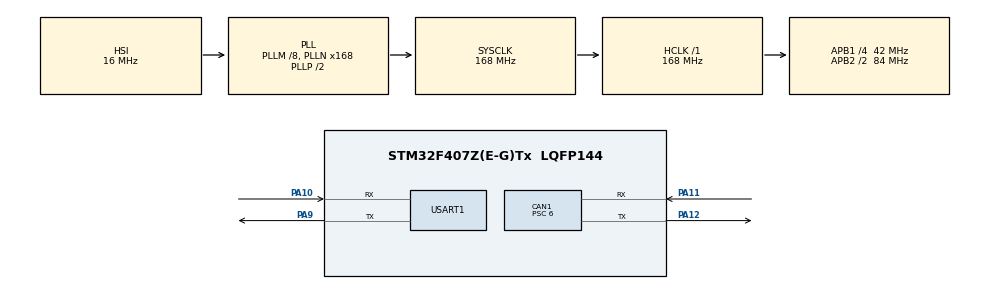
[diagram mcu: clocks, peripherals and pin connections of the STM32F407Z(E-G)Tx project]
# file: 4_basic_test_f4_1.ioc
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CAN1.BS1=CAN_BS1_11TQ
CAN1.BS2=CAN_BS2_2TQ
CAN1.CalculateBaudRate=500000
CAN1.CalculateTimeBit=1999.99
CAN1.CalculateTimeQuantum=142.85714285714286
CAN1.Prescaler=6
CAN1.SJW=CAN_SJW_1TQ
Mcu.Family=STM32F4
Mcu.Name=STM32F407Z(E-G)Tx
Mcu.Package=LQFP144
NVIC.CAN1_RX0_IRQn=true\:0\:0\:false\:false\:true\:true\:true
NVIC.PriorityGroup=NVIC_PRIORITYGROUP_4
NVIC.TIM3_IRQn=true\:0\:0\:false\:false\:true\:true\:true
NVIC.USART1_IRQn=true\:0\:0\:false\:false\:true\:true\:true
PA10.Mode=Asynchronous
PA10.Signal=USART1_RX
PA11.Mode=CAN_Activate
PA11.Signal=CAN1_RX
PA12.Mode=CAN_Activate
PA12.Signal=CAN1_TX
PA13.Mode=Serial_Wire
PA13.Signal=SYS_JTMS-SWDIO
PA14.Mode=Serial_Wire
PA14.Signal=SYS_JTCK-SWCLK
PA9.Mode=Asynchronous
PA9.Signal=USART1_TX
PH0-OSC_IN.Mode=HSE-External-Oscillator
PH0-OSC_IN.Signal=RCC_OSC_IN
PH1-OSC_OUT.Mode=HSE-External-Oscillator
PH1-OSC_OUT.Signal=RCC_OSC_OUT
ProjectManager.HeapSize=0x200
ProjectManager.StackSize=0x400
ProjectManager.TargetToolchain=MDK-ARM V5.27
RCC.48MHZClocksFreq_Value=84000000
RCC.AHBFreq_Value=168000000
RCC.APB1CLKDivider=RCC_HCLK_DIV4
RCC.APB1Freq_Value=42000000
RCC.APB1TimFreq_Value=84000000
RCC.APB2CLKDivider=RCC_HCLK_DIV2
RCC.APB2Freq_Value=84000000
RCC.APB2TimFreq_Value=168000000
RCC.CortexFreq_Value=168000000
RCC.HCLKFreq_Value=168000000
RCC.HSE_VALUE=8000000
RCC.HSI_VALUE=16000000
RCC.LSE_VALUE=32768
RCC.PLLM=8
RCC.PLLN=168
RCC.SYSCLKFreq_VALUE=168000000
RCC.SYSCLKSource=RCC_SYSCLKSOURCE_PLLCLK
RCC.VCOOutputFreq_Value=336000000
TIM3.AutoReloadPreload=TIM_AUTORELOAD_PRELOAD_ENABLE
TIM3.Prescaler=83
USART1.VirtualMode=VM_ASYNC
VP_TIM3_VS_ClockSourceINT.Mode=Internal
board=custom

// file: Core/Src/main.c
/* USER CODE BEGIN Header */
/**
  ******************************************************************************
  * @file           : main.c
  * @brief          : Main program body
  ******************************************************************************
  * @attention
  *
  * <h2><center>&copy; Copyright (c) 2025 STMicroelectronics.
  * All rights reserved.</center></h2>
  *
  * This software component is licensed by ST under BSD 3-Clause license,
  * the "License"; You may not use this file except in compliance with the
  * License. You may obtain a copy of the License at:
  *                        opensource.org/licenses/BSD-3-Clause
  *
  ******************************************************************************
  */
/* USER CODE END Header */
#include "main.h"
#include "bsp_can.h"
#include "tim.h"
#include "usart.h"
#include "gpio.h"

/* USER CODE BEGIN Includes */
#include <applicfg.h>
#include <stdlib.h>
#include "canfestival.h"
// #include "config.h" // dardware下
// #include "TestAll.h"
#include "TestAllSlave.h"
#include "data.h"
#include <stdio.h>
/* USER CODE END Includes */

void SystemClock_Config(void);

int main(void)
{

  /* MCU Configuration--------------------------------------------------------*/

  /* Reset of all peripherals, Initializes the Flash interface and the Systick. */
  HAL_Init();

  /* Configure the system clock */
  SystemClock_Config();

  /* Initialize all configured peripherals */
  MX_GPIO_Init();
  MX_CAN1_Init();
  MX_TIM3_Init();
  MX_USART1_UART_Init();
  /* USER CODE BEGIN 2 */
	printf("hello world\n");
  Configure_Filter();
  HAL_CAN_Start(&hcan1);
  HAL_CAN_ActivateNotification(&hcan1,CAN_IT_RX_FIFO0_MSG_PENDING);
	HAL_TIM_Base_Start_IT(&htim3);

	unsigned char nodeID = 0x02;                   //节点ID
 setNodeId(&TestAllSlave_Data, nodeID);
 setState(&TestAllSlave_Data, Initialisation);				//节点初始化
 setState(&TestAllSlave_Data, Pre_operational);
 setState(&TestAllSlave_Data, Operational);

  /* USER CODE END 2 */

  /* Infinite loop */
  while (1)
  {

//    CAN_TxHeaderTypeDef Can_Tx;
//    uint8_t txdata[8] = {0x035,0x11,0x03,0x42,0x77,0x0a,0x07,0x08};
//    uint32_t pTxMailbox = 0;
//    Can_Tx.StdId = 0x123;
//    Can_Tx.ExtId = 0x123;
//    Can_Tx.IDE = 0;
//    Can_Tx.RTR = 0;
//    Can_Tx.DLC = 8;
//
//    HAL_CAN_AddTxMessage(&hcan1,&Can_Tx,txdata,&pTxMailbox);//����can��Ϣ
    printf("slave test\n");
    printf("sdo_data: %d\n", sdo_data);
		// data[0]++;
    // 添加调试信息
    printf("Node state: %d\n", TestAllSlave_Data.nodeState);
    printf("PDO state: %d\n", TestAllSlave_Data.CurrentCommunicationState.csPDO);
    // 打印更多调试信息
    printf("PDO transmission type: %d\n",
            TestAllSlave_Data.CurrentCommunicationState.csPDO);
    printf("PDO event timer: %d\n",
            TestAllSlave_Data.CurrentCommunicationState.csPDO);
    printf("PDO inhibit time: %d\n",
            TestAllSlave_Data.CurrentCommunicationState.csPDO);

    HAL_Delay(1000);

  }
}

void SystemClock_Config(void)
{
  RCC_OscInitTypeDef RCC_OscInitStruct = {0};
  RCC_ClkInitTypeDef RCC_ClkInitStruct = {0};

  /** Configure the main internal regulator output voltage
  */
  __HAL_RCC_PWR_CLK_ENABLE();
  __HAL_PWR_VOLTAGESCALING_CONFIG(PWR_REGULATOR_VOLTAGE_SCALE1);
  /** Initializes the RCC Oscillators according to the specified parameters
  * in the RCC_OscInitTypeDef structure.
  */
  RCC_OscInitStruct.OscillatorType = RCC_OSCILLATORTYPE_HSI;
  RCC_OscInitStruct.HSIState = RCC_HSI_ON;
  RCC_OscInitStruct.HSICalibrationValue = RCC_HSICALIBRATION_DEFAULT;
  RCC_OscInitStruct.PLL.PLLState = RCC_PLL_ON;
  RCC_OscInitStruct.PLL.PLLSource = RCC_PLLSOURCE_HSI;
  RCC_OscInitStruct.PLL.PLLM = 8;
  RCC_OscInitStruct.PLL.PLLN = 168;
  RCC_OscInitStruct.PLL.PLLP = RCC_PLLP_DIV2;
  RCC_OscInitStruct.PLL.PLLQ = 4;
  if (HAL_RCC_OscConfig(&RCC_OscInitStruct) != HAL_OK)
  {
    Error_Handler();
  }
  /** Initializes the CPU, AHB and APB buses clocks
  */
  RCC_ClkInitStruct.ClockType = RCC_CLOCKTYPE_HCLK|RCC_CLOCKTYPE_SYSCLK
                              |RCC_CLOCKTYPE_PCLK1|RCC_CLOCKTYPE_PCLK2;
  RCC_ClkInitStruct.SYSCLKSource = RCC_SYSCLKSOURCE_PLLCLK;
  RCC_ClkInitStruct.AHBCLKDivider = RCC_SYSCLK_DIV1;
  RCC_ClkInitStruct.APB1CLKDivider = RCC_HCLK_DIV4;
  RCC_ClkInitStruct.APB2CLKDivider = RCC_HCLK_DIV2;

  if (HAL_RCC_ClockConfig(&RCC_ClkInitStruct, FLASH_LATENCY_5) != HAL_OK)
  {
    Error_Handler();
  }
}

void Error_Handler(void)
{
  __disable_irq();
  while (1)
  {
  }
}

/************************ (C) COPYRIGHT STMicroelectronics *****END OF FILE****/
